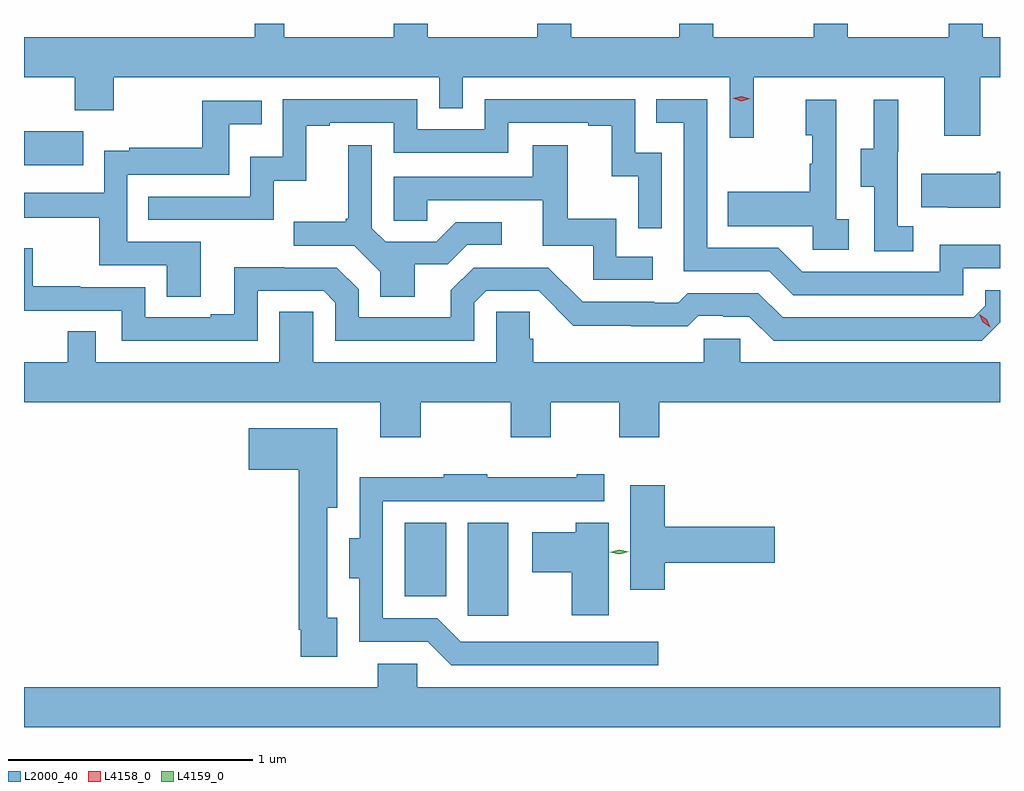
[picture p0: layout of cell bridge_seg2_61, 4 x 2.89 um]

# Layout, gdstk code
import gdstk
lib = gdstk.Library(unit=1e-6, precision=1e-09)
def R(c, l, rs):  # rectangles x0, y0, x1, y1
    for r in rs: c.add(gdstk.rectangle(r[:2], r[2:], *l))
def P(c, l, *ps):  # polygons
    for p in ps: c.add(gdstk.Polygon(p, *l))
L2000_40 = (2000, 40)
L4158_0 = (4158, 0)
L4159_0 = (4159, 0)

bridge_seg2_61 = lib.new_cell('bridge_seg2_61')
R(bridge_seg2_61, L2000_40, [(1114.19,596.145,1114.357,596.527), (1113.932,596.225,1114.102,596.527)])
P(bridge_seg2_61, L2000_40, [(1115.363,598.352),(1116.143,598.352),(1116.143,598.113),(1116.291,598.113),(1116.291,598.352),(1116.372,598.352),(1116.372,598.516),(1116.301,598.516),(1116.301,598.573),(1116.161,598.573),(1116.161,598.516),(1115.749,598.516),(1115.749,598.573),(1115.609,598.573),(1115.609,598.516),(1115.197,598.516),(1115.197,598.573),(1115.057,598.573),(1115.057,598.516),(1114.615,598.516),(1114.615,598.573),(1114.475,598.573),(1114.475,598.516),(1114.027,598.516),(1114.027,598.573),(1113.887,598.573),(1113.887,598.516),(1113.439,598.516),(1113.439,598.573),(1113.318,598.573),(1113.318,598.516),(1112.372,598.516),(1112.372,598.352),(1112.579,598.352),(1112.579,598.217),(1112.739,598.217),(1112.739,598.352),(1114.074,598.352),(1114.074,598.225),(1114.17,598.225),(1114.17,598.352),(1115.265,598.352),(1115.265,598.104),(1115.363,598.104)],
  [(1114.986,598.044),(1114.878,598.044),(1114.878,598.263),(1114.26,598.263),(1114.26,598.14),(1113.984,598.14),(1113.984,598.263),(1113.432,598.263),(1113.432,598.027),(1113.3,598.027),(1113.3,597.864),(1112.881,597.864),(1112.881,597.768),(1113.396,597.768),(1113.396,597.929),(1113.529,597.929),(1113.529,598.155),(1113.625,598.155),(1113.625,598.167),(1113.888,598.167),(1113.888,598.044),(1114.356,598.044),(1114.356,598.167),(1114.685,598.167),(1114.685,598.155),(1114.781,598.155),(1114.781,597.947),(1114.89,597.947),(1114.89,597.735),(1114.986,597.735)],
  [(1116.222,597.57),(1116.372,597.57),(1116.372,597.667),(1116.126,597.667),(1116.126,597.555),(1115.562,597.555),(1115.463,597.654),(1115.172,597.654),(1115.172,598.263),(1114.963,598.263),(1114.963,598.167),(1115.076,598.167),(1115.076,597.558),(1115.426,597.558),(1115.525,597.459),(1116.222,597.459)],
  [(1115.752,597.77),(1115.7,597.77),(1115.7,598.261),(1115.576,598.261),(1115.576,598.116),(1115.602,598.116),(1115.602,597.998),(1115.592,597.998),(1115.592,597.883),(1115.257,597.883),(1115.257,597.743),(1115.604,597.743),(1115.604,597.645),(1115.752,597.645)],
  [(1116.016,597.743),(1115.952,597.743),(1115.952,598.047),(1115.954,598.047),(1115.954,598.261),(1115.855,598.261),(1115.855,598.059),(1115.801,598.059),(1115.801,597.904),(1115.856,597.904),(1115.856,597.64),(1116.016,597.64)],
  [(1113.097,597.678),(1112.796,597.678),(1112.796,597.954),(1113.213,597.954),(1113.213,598.16),(1113.347,598.16),(1113.347,598.257),(1113.102,598.257),(1113.102,598.063),(1112.803,598.063),(1112.803,598.051),(1112.7,598.051),(1112.7,597.879),(1112.372,597.879),(1112.372,597.778),(1112.68,597.778),(1112.68,597.582),(1112.957,597.582),(1112.957,597.454),(1113.097,597.454)],
  [(1112.615,598.132),(1112.372,598.132),(1112.372,597.993),(1112.401,597.993),(1112.401,597.992),(1112.615,597.992)],
  [(1114.948,597.618),(1114.8,597.618),(1114.8,597.772),(1114.601,597.772),(1114.601,598.075),(1114.457,598.075),(1114.457,597.945),(1113.888,597.945),(1113.888,597.765),(1114.025,597.765),(1114.025,597.849),(1114.499,597.849),(1114.499,597.663),(1114.704,597.663),(1114.704,597.522),(1114.948,597.522)],
  [(1113.973,597.586),(1114.108,597.586),(1114.188,597.666),(1114.33,597.666),(1114.33,597.759),(1114.142,597.759),(1114.061,597.678),(1113.855,597.678),(1113.798,597.735),(1113.798,598.075),(1113.701,598.075),(1113.701,597.772),(1113.69,597.772),(1113.69,597.76),(1113.477,597.76),(1113.477,597.663),(1113.726,597.663),(1113.833,597.556),(1113.833,597.454),(1113.973,597.454)],
  [(1116.372,597.966),(1116.359,597.966),(1116.359,597.958),(1116.049,597.958),(1116.049,597.821),(1116.157,597.821),(1116.157,597.818),(1116.372,597.818)],
  [(1113.33,597.477),(1113.6,597.477),(1113.648,597.429),(1113.648,597.273),(1114.218,597.273),(1114.218,597.429),(1114.266,597.477),(1114.482,597.477),(1114.624,597.335),(1114.86,597.335),(1114.86,597.333),(1115.093,597.333),(1115.135,597.375),(1115.238,597.375),(1115.238,597.372),(1115.345,597.372),(1115.444,597.273),(1116.297,597.273),(1116.372,597.348),(1116.372,597.48),(1116.312,597.48),(1116.312,597.417),(1116.264,597.369),(1115.481,597.369),(1115.382,597.468),(1115.093,597.468),(1115.054,597.429),(1114.955,597.429),(1114.955,597.432),(1114.662,597.432),(1114.521,597.573),(1114.215,597.573),(1114.121,597.479),(1114.121,597.369),(1113.744,597.369),(1113.744,597.483),(1113.654,597.573),(1113.438,597.573),(1113.438,597.575),(1113.233,597.575),(1113.233,597.382),(1113.137,597.382),(1113.137,597.369),(1112.868,597.369),(1112.868,597.492),(1112.603,597.492),(1112.603,597.497),(1112.407,597.497),(1112.407,597.652),(1112.372,597.652),(1112.372,597.396),(1112.772,597.396),(1112.772,597.273),(1113.33,597.273)],
  [(1113.997,597.02),(1114.367,597.02),(1114.367,596.877),(1114.531,596.877),(1114.531,597.02),(1114.811,597.02),(1114.811,596.877),(1114.975,596.877),(1114.975,597.02),(1116.372,597.02),(1116.372,597.184),(1115.307,597.184),(1115.307,597.282),(1115.157,597.282),(1115.157,597.184),(1114.46,597.184),(1114.46,597.282),(1114.445,597.282),(1114.445,597.392),(1114.308,597.392),(1114.308,597.184),(1113.558,597.184),(1113.558,597.392),(1113.419,597.392),(1113.419,597.184),(1112.667,597.184),(1112.667,597.311),(1112.551,597.311),(1112.551,597.184),(1112.372,597.184),(1112.372,597.02),(1113.833,597.02),(1113.833,596.877),(1113.997,596.877)],
  [(1113.655,596.137),(1113.615,596.137),(1113.615,596.588),(1113.655,596.588),(1113.655,596.914),(1113.294,596.914),(1113.294,596.744),(1113.499,596.744),(1113.499,596.089),(1113.507,596.089),(1113.507,595.977),(1113.655,595.977)],
  [(1114.972,596.04),(1114.161,596.04),(1114.065,596.136),(1113.843,596.136),(1113.843,596.616),(1114.75,596.616),(1114.75,596.725),(1114.637,596.725),(1114.637,596.713),(1114.271,596.713),(1114.271,596.725),(1114.093,596.725),(1114.093,596.713),(1113.747,596.713),(1113.747,596.464),(1113.704,596.464),(1113.704,596.3),(1113.746,596.3),(1113.746,596.04),(1114.026,596.04),(1114.122,595.944),(1114.972,595.944)],
  [(1114.997,596.363),(1115.449,596.363),(1115.449,596.51),(1114.997,596.51),(1114.997,596.68),(1114.856,596.68),(1114.856,596.253),(1114.997,596.253)],
  [(1114.768,596.527),(1114.634,596.527),(1114.634,596.488),(1114.455,596.488),(1114.455,596.324),(1114.616,596.324),(1114.616,596.147),(1114.768,596.147)],
  [(1116.372,595.852),(1113.984,595.852),(1113.984,595.95),(1113.821,595.95),(1113.821,595.852),(1112.372,595.852),(1112.372,595.688),(1116.372,595.688)])
P(bridge_seg2_61, L4158_0, [(1116.333,597.329),(1116.302,597.349),(1116.287,597.381),(1116.287,597.382),(1116.287,597.382),(1116.317,597.362),(1116.333,597.329),(1116.333,597.329)],
  [(1115.312,598.255),(1115.276,598.266),(1115.276,598.266),(1115.276,598.266),(1115.312,598.275),(1115.348,598.265),(1115.348,598.265),(1115.348,598.265)])
P(bridge_seg2_61, L4159_0, [(1114.812,596.397),(1114.772,596.407),(1114.772,596.407),(1114.772,596.407),(1114.812,596.417),(1114.851,596.408),(1114.851,596.408),(1114.851,596.408)])

lib.write_gds('bridge_seg2_61.gds')
